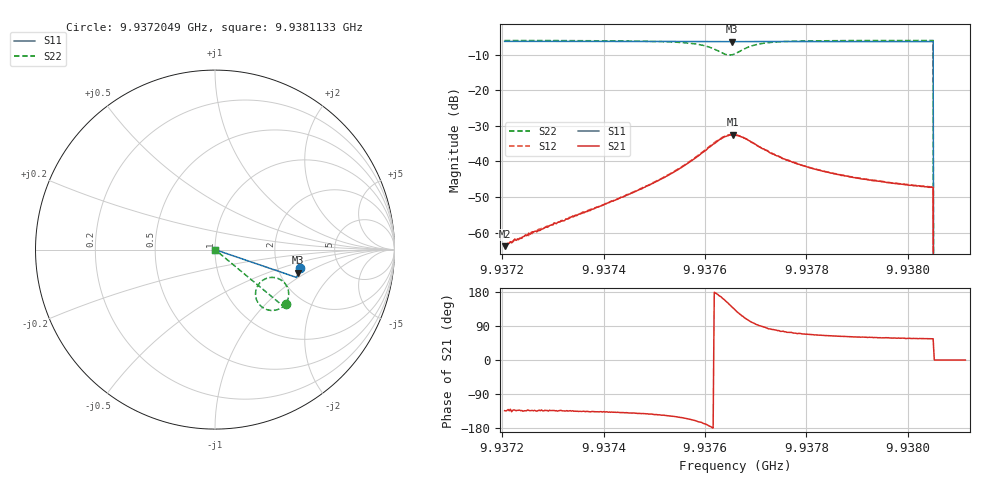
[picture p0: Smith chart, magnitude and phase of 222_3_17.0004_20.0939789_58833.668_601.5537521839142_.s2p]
#  HZ  S  RI  R  50.00
! Rohde & Schwarz Vector Network Analyzer
! Rohde-Schwarz,ZNB20-2Port,1311601062101988,3.16
! Created: UTC 3/20/2024, 11:02:01 PM
! freq[Hz]  re:S11  im:S11  re:S21  im:S21  re:S12  im:S12  re:S22  im:S22
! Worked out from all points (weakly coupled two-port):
!   401 points, 9.9372049 GHz to 9.9381133 GHz, reference 50 ohm
!   highest |S21| = -32.53 dB at 9.9376546 GHz (marker M1); lowest = -63.8 dB at 9.9372049 GHz (marker M2)
!   lowest |S11| = -6.4 dB at 9.9376523 GHz (marker M3), VSWR 2.84, Z = 126 - j42 ohm
!   |S11| at or under -10 dB: 9.9380498 GHz to end of sweep
!   |S22| runs from - to -6.1 dB; largest |S21 - S12| = 0.0011
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9.93720486e9  0.4733 -0.1005  -0.000447 -0.000467  -0.000452 -0.00048  0.3943 -0.3042
9.93726164e9  0.4723 -0.1044  -0.00071 -0.000733  -0.000718 -0.000736  0.3896 -0.3087
9.937273e9  0.4721 -0.105  -0.000721 -0.000791  -0.000779 -0.000804  0.3885 -0.3096
9.93735703e9  0.4703 -0.1108  -0.00134 -0.0013  -0.00137 -0.00133  0.3796 -0.3174
9.93742744e9  0.4688 -0.1156  -0.00218 -0.00196  -0.00227 -0.00195  0.3686 -0.3249
9.9375092e9  0.4669 -0.121  -0.00445 -0.00316  -0.00457 -0.00313  0.3451 -0.3353
9.93755235e9  0.4655 -0.1241  -0.00715 -0.00383  -0.00733 -0.00383  0.3204 -0.3394
9.93760005e9  0.4637 -0.1273  -0.0138 -0.00281  -0.0142 -0.0025  0.2658 -0.3228
9.93761822e9  0.463 -0.1281  -0.0177 0.000389  -0.0182 0.000893  0.2379 -0.2924
9.93763412e9  0.4622 -0.1287  -0.0204 0.00615  -0.0207 0.00683  0.2259 -0.2432
9.93765229e9  0.4616 -0.1286  -0.0183 0.0149  -0.0179 0.0156  0.2562 -0.1786
9.93765456e9  0.4617 -0.1286  -0.0176 0.0157  -0.0172 0.0166  0.2635 -0.1726
9.9376591e9  0.4618 -0.1288  -0.0158 0.0173  -0.0154 0.018  0.2797 -0.1632
9.93768408e9  0.4624 -0.13  -0.00546 0.0193  -0.00497 0.0195  0.3624 -0.1661
9.93771134e9  0.4625 -0.132  0.000294 0.0154  0.000667 0.0154  0.4007 -0.2058
9.93775676e9  0.4619 -0.1356  0.00288 0.0104  0.00307 0.0103  0.4108 -0.251
9.93781127e9  0.4607 -0.1393  0.00311 0.00731  0.0033 0.00732  0.4059 -0.2779
9.9378794e9  0.4591 -0.1441  0.00293 0.00547  0.00305 0.00545  0.3984 -0.2955
9.93796344e9  0.457 -0.1495  0.00264 0.00428  0.00275 0.00427  0.3904 -0.3085
9.9380452e9  0.455 -0.155  0.00244 0.00359  0.0025 0.00362  0.3838 -0.3172
9.93805656e9  0 0  0 0  0 0  0 0
9.93811334e9  0 0  0 0  0 0  0 0
